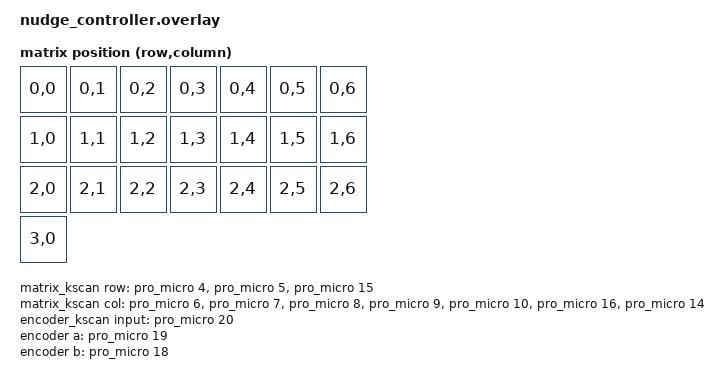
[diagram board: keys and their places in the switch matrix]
/*
 * ─────────────────────────────────────────────────────────────────────────────
 *  Nudge Controller — hardware definition (devicetree overlay)
 *  Board: nice!nano v2 (nRF52840) · Pro Micro–compatible pinout
 *
 *  NOTE ON FILE LOCATION:
 *  For a standalone ZMK shield this devicetree normally lives at
 *      boards/shields/nudge_controller/nudge_controller.overlay
 *  We keep it here under config/ to match the project layout; ZMK applies a
 *  config/<shield>.overlay during the build. If you split this into its own
 *  shield module later, move this file (and copy it) into boards/shields/.
 *
 *  PIN MAPPING — READ ME:
 *  `&pro_micro N` refers to Pro Micro silkscreen pin N as exposed by the
 *  nice!nano. The matrix pins below map cleanly (D4..D16 -> &pro_micro 4..16).
 *  The encoder uses the AVR-style labels from the schematic (A=F4, B=F5,
 *  SW=F6). On the 32u4 those are PORTF analog pins; on the nice!nano they sit
 *  at different Pro Micro positions, so the encoder &pro_micro indices below
 *  are best-guess placeholders — VERIFY against the nice!nano v2 pinout and
 *  your PCB before flashing. Search this file for "TODO" for every spot.
 * ─────────────────────────────────────────────────────────────────────────────
 */

#include <dt-bindings/zmk/matrix_transform.h>

/ {
    chosen {
        zmk,kscan = &kscan0;
        zmk,matrix-transform = &default_transform;
    };

    /*
     * The 21 keys form a 3-row × 7-column matrix. The encoder push-switch is a
     * single extra GPIO, so we stitch the matrix and a 1-key direct kscan
     * together with a composite kscan. The encoder switch becomes the 22nd key
     * (matrix-transform position RC(3,0)).
     */
    kscan0: kscan_composite {
        compatible = "zmk,kscan-composite";
        rows = <4>;       /* 3 real matrix rows + 1 virtual row for the encoder switch */
        columns = <7>;

        /* The 3×7 key matrix occupies rows 0–2 */
        matrix {
            kscan = <&matrix_kscan>;
        };

        /* The encoder push-switch occupies the virtual row 3, column 0 */
        encoder_switch {
            kscan = <&encoder_kscan>;
            row-offset = <3>;
        };
    };

    /* ── Key matrix (Alps/Cherry-style switches) ────────────────────────────── */
    matrix_kscan: matrix_kscan {
        compatible = "zmk,kscan-gpio-matrix";
        diode-direction = "col2row";   /* diodes point column → row */
        wakeup-source;                 /* a keypress wakes the board from deep sleep */

        /* Rows are the SENSING side (inputs, pulled low) */
        row-gpios
            = <&pro_micro  4 (GPIO_ACTIVE_HIGH | GPIO_PULL_DOWN)>   /* D4 — row 0 */
            , <&pro_micro  5 (GPIO_ACTIVE_HIGH | GPIO_PULL_DOWN)>   /* D5 — row 1 */
            , <&pro_micro 15 (GPIO_ACTIVE_HIGH | GPIO_PULL_DOWN)>   /* TODO: 3rd row pin.
                 The build spec lists only D4 + D5, but 21 keys need 3 rows × 7 cols.
                 D15 is a placeholder — set this to the real 3rd row pin on your PCB. */
            ;

        /* Columns are the DRIVING side (outputs) */
        col-gpios
            = <&pro_micro  6 GPIO_ACTIVE_HIGH>   /* D6  — col 0 */
            , <&pro_micro  7 GPIO_ACTIVE_HIGH>   /* D7  — col 1 */
            , <&pro_micro  8 GPIO_ACTIVE_HIGH>   /* D8  — col 2 */
            , <&pro_micro  9 GPIO_ACTIVE_HIGH>   /* D9  — col 3 */
            , <&pro_micro 10 GPIO_ACTIVE_HIGH>   /* D10 — col 4 */
            , <&pro_micro 16 GPIO_ACTIVE_HIGH>   /* D16 — col 5 */
            , <&pro_micro 14 GPIO_ACTIVE_HIGH>   /* D14 — col 6 */
            ;
    };

    /* ── Encoder push-switch (the SW leg of the EC11K) ──────────────────────── */
    encoder_kscan: encoder_kscan {
        compatible = "zmk,kscan-gpio-direct";
        wakeup-source;
        input-gpios
            = <&pro_micro 20 (GPIO_ACTIVE_LOW | GPIO_PULL_UP)>   /* SW = F6 — TODO verify pin */
            ;
    };

    /* ── Logical key layout ─────────────────────────────────────────────────── */
    default_transform: keymap_transform_0 {
        compatible = "zmk,matrix-transform";
        columns = <7>;
        rows = <4>;
        /* 21 matrix keys, then the encoder switch at RC(3,0) */
        map = <
            RC(0,0) RC(0,1) RC(0,2) RC(0,3) RC(0,4) RC(0,5) RC(0,6)
            RC(1,0) RC(1,1) RC(1,2) RC(1,3) RC(1,4) RC(1,5) RC(1,6)
            RC(2,0) RC(2,1) RC(2,2) RC(2,3) RC(2,4) RC(2,5) RC(2,6)
            RC(3,0)
        >;
    };

    /* ── Rotary encoder (Alps EC11K, 24 detents/pulses per revolution) ──────── */
    encoder: encoder {
        compatible = "alps,ec11";
        a-gpios = <&pro_micro 19 (GPIO_ACTIVE_HIGH)>;   /* A = F4 — TODO verify pin */
        b-gpios = <&pro_micro 18 (GPIO_ACTIVE_HIGH)>;   /* B = F5 — TODO verify pin */
        steps = <24>;                                   /* 24 pulses per rotation (EC11K) */
        status = "okay";
        /* A and B carry external 10kΩ pull-ups on the PCB, so no internal pull
           is requested here. If you wire the encoder without those resistors,
           add GPIO_PULL_UP to both a-gpios and b-gpios. */
    };

    /* Tell ZMK this encoder is a keymap sensor (its rotation drives the keymap) */
    sensors: sensors {
        compatible = "zmk,keymap-sensors";
        sensors = <&encoder>;
        triggers-per-rotation = <24>;
    };
};
